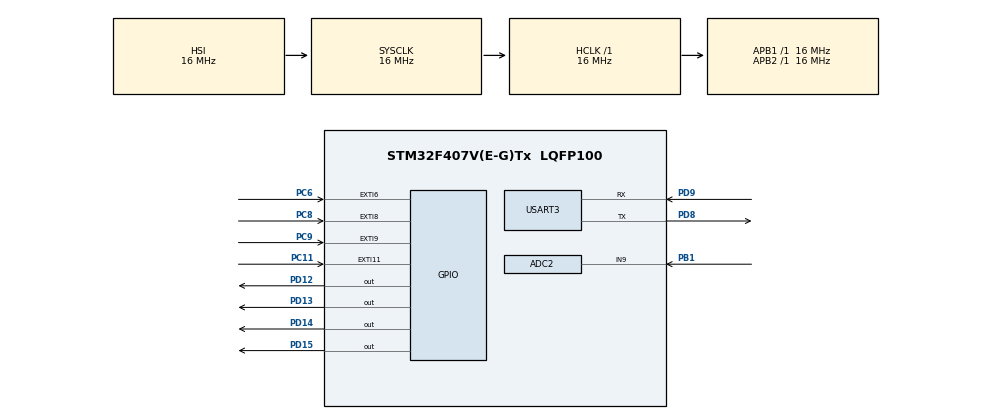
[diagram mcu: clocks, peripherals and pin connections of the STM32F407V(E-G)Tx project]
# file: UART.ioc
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ADC2.Channel-0\#ChannelRegularConversion=ADC_CHANNEL_9
ADC2.NbrOfConversionFlag=1
ADC2.Rank-0\#ChannelRegularConversion=1
ADC2.SamplingTime-0\#ChannelRegularConversion=ADC_SAMPLETIME_3CYCLES
Mcu.Family=STM32F4
Mcu.Name=STM32F407V(E-G)Tx
Mcu.Package=LQFP100
NVIC.EXTI15_10_IRQn=true\:0\:0\:false\:false\:true\:true\:true\:true
NVIC.EXTI9_5_IRQn=true\:0\:0\:false\:false\:true\:true\:true\:true
NVIC.PriorityGroup=NVIC_PRIORITYGROUP_4
NVIC.TIM6_DAC_IRQn=true\:0\:0\:false\:false\:true\:true\:true\:true
PB1.Signal=ADCx_IN9
PC11.GPIO_ModeDefaultEXTI=GPIO_MODE_IT_FALLING
PC11.Signal=GPXTI11
PC6.GPIO_ModeDefaultEXTI=GPIO_MODE_IT_FALLING
PC6.Signal=GPXTI6
PC8.GPIO_ModeDefaultEXTI=GPIO_MODE_IT_FALLING
PC8.Signal=GPXTI8
PC9.GPIO_ModeDefaultEXTI=GPIO_MODE_IT_FALLING
PC9.Signal=GPXTI9
PD12.Signal=GPIO_Output
PD13.Signal=GPIO_Output
PD14.Signal=GPIO_Output
PD15.Signal=GPIO_Output
PD8.Mode=Asynchronous
PD8.Signal=USART3_TX
PD9.Mode=Asynchronous
PD9.Signal=USART3_RX
ProjectManager.HeapSize=0x200
ProjectManager.StackSize=0x400
ProjectManager.TargetToolchain=STM32CubeIDE
RCC.AHBFreq_Value=16000000
RCC.APB1Freq_Value=16000000
RCC.APB2Freq_Value=16000000
RCC.CortexFreq_Value=16000000
RCC.HSE_VALUE=25000000
RCC.HSI_VALUE=16000000
RCC.LSE_VALUE=32768
RCC.SYSCLKFreq_VALUE=16000000
RCC.VCOOutputFreq_Value=192000000
SH.ADCx_IN9.0=ADC2_IN9,IN9
TIM6.Period=5000
TIM6.Prescaler=16000
USART3.VirtualMode=VM_ASYNC
VP_TIM6_VS_ClockSourceINT.Mode=Enable_Timer
board=custom

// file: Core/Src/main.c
/* USER CODE BEGIN Header */
/**
  ******************************************************************************
  * @file           : main.c
  * @brief          : Main program body
  ******************************************************************************
  * @attention
  *
  * Copyright (c) 2023 STMicroelectronics.
  * All rights reserved.
  *
  * This software is licensed under terms that can be found in the LICENSE file
  * in the root directory of this software component.
  * If no LICENSE file comes with this software, it is provided AS-IS.
  *
  ******************************************************************************
  */
/* USER CODE END Header */
#include "main.h"

ADC_HandleTypeDef hadc2;

TIM_HandleTypeDef htim6;

UART_HandleTypeDef huart3;

void SystemClock_Config(void);
static void MX_GPIO_Init(void);
static void MX_USART3_UART_Init(void);
static void MX_TIM6_Init(void);
static void MX_ADC2_Init(void);
/* USER CODE BEGIN PFP */

#ifdef __GNUC__
#define PUTCHAR_PROTOTYPE int __io_putchar(int ch)
#else
#define PUTCHAR_PROTOTYPE int fputc(int ch, FILE *f)
#endif

PUTCHAR_PROTOTYPE
{
  HAL_UART_Transmit(&huart3, (uint8_t *)&ch, 1, HAL_MAX_DELAY);
  return ch;
}

/* USER CODE END PFP */

/* USER CODE BEGIN 0 */
static uint8_t blueState = 0;
static uint8_t redState = 0;
static uint8_t orangeState = 0;
static uint8_t greenState = 0;
static uint32_t adc_inTemp_Value = 0;
static uint8_t temp;

volatile HAL_StatusTypeDef adc1PoolResult;

uint32_t MAP(uint32_t IN, uint32_t INmin, uint32_t INmax, uint32_t OUTmin, uint32_t OUTmax)
{
    return ((((IN - INmin)*(OUTmax - OUTmin))/(INmax - INmin)) + OUTmin);
}

void checkTemp(){

	HAL_ADC_Start(&hadc2);
	adc1PoolResult = HAL_ADC_PollForConversion(&hadc2, 100);
	if(adc1PoolResult == HAL_OK){
		adc_inTemp_Value = HAL_ADC_GetValue(&hadc2);
		temp = 125 - MAP(adc_inTemp_Value, 0, 2050, -25, 100);
		printf("Temperature: %d\r\n", temp);
		//HAL_UART_Transmit(&huart3, (uint8_t *)"Temp: ", 6, 10);
	}
}

void changeColor(char color) {
    switch(color){
    case 'R':
    	HAL_GPIO_TogglePin(GPIOD, GPIO_PIN_14);
		if(redState == 1){
			printf("Red OFF\r\n");
			//HAL_UART_Transmit(&huart3, (uint8_t *)"Red OFF", 7, 10);
			redState = 0;
		}
		else{
			printf("Red ON\r\n");
			//HAL_UART_Transmit(&huart3, (uint8_t *)"Red ON", 6, 10);
			redState = 1;
		}
		break;

    case 'B':
    	HAL_GPIO_TogglePin(GPIOD, GPIO_PIN_15);
		if(blueState == 1){
			printf("Blue OFF\r\n");
			//HAL_UART_Transmit(&huart3, (uint8_t *)"Blue OFF", 8, 10);
			blueState = 0;
		}
		else{
			printf("Blue ON\r\n");
			//HAL_UART_Transmit(&huart3, (uint8_t *)"Blue ON", 7, 10);
			blueState = 1;
		}
        break;
    case 'G':
    	HAL_GPIO_TogglePin(GPIOD, GPIO_PIN_12);
		if(greenState == 1){
			printf("Green OFF\r\n");
			//HAL_UART_Transmit(&huart3, (uint8_t *)"Green OFF", 9, 10);
			greenState = 0;
		}
		else{
			printf("Green ON\r\n");
			//HAL_UART_Transmit(&huart3, (uint8_t *)"Green ON", 8, 10);
			greenState = 1;
		}
        break;
    case 'O':
    	HAL_GPIO_TogglePin(GPIOD, GPIO_PIN_13);
        if(orangeState == 1){
        	printf("Orange OFF\r\n");
        	//HAL_UART_Transmit(&huart3, (uint8_t *)"Orange OFF", 10, 10);
        	orangeState = 0;
        }
        else{
        	printf("Orange ON\r\n");
        	//HAL_UART_Transmit(&huart3, (uint8_t *)"Orange ON", 9, 10);
        	orangeState = 1;
        }
        break;
    }
}

/* USER CODE END 0 */

int main(void)
{

  /* MCU Configuration--------------------------------------------------------*/

  /* Reset of all peripherals, Initializes the Flash interface and the Systick. */
  HAL_Init();

  /* Configure the system clock */
  SystemClock_Config();

  /* Initialize all configured peripherals */
  MX_GPIO_Init();
  MX_USART3_UART_Init();
  MX_TIM6_Init();
  MX_ADC2_Init();

  /* Infinite loop */
  /* USER CODE BEGIN WHILE */

  HAL_TIM_Base_Start_IT(&htim6);

  while (1)
  {
	  char rcvBuf[1];
	  HAL_StatusTypeDef result;
	  result = HAL_UART_Receive(&huart3, rcvBuf, 1, 10);
	  //print('q');
	  if(result == HAL_OK){
		  changeColor(rcvBuf[0]);
	  }
   }
    /* USER CODE END WHILE */

}

void SystemClock_Config(void)
{
  RCC_OscInitTypeDef RCC_OscInitStruct = {0};
  RCC_ClkInitTypeDef RCC_ClkInitStruct = {0};

  /** Configure the main internal regulator output voltage
  */
  __HAL_RCC_PWR_CLK_ENABLE();
  __HAL_PWR_VOLTAGESCALING_CONFIG(PWR_REGULATOR_VOLTAGE_SCALE1);

  /** Initializes the RCC Oscillators according to the specified parameters
  * in the RCC_OscInitTypeDef structure.
  */
  RCC_OscInitStruct.OscillatorType = RCC_OSCILLATORTYPE_HSI;
  RCC_OscInitStruct.HSIState = RCC_HSI_ON;
  RCC_OscInitStruct.HSICalibrationValue = RCC_HSICALIBRATION_DEFAULT;
  RCC_OscInitStruct.PLL.PLLState = RCC_PLL_NONE;
  if (HAL_RCC_OscConfig(&RCC_OscInitStruct) != HAL_OK)
  {
    Error_Handler();
  }

  /** Initializes the CPU, AHB and APB buses clocks
  */
  RCC_ClkInitStruct.ClockType = RCC_CLOCKTYPE_HCLK|RCC_CLOCKTYPE_SYSCLK
                              |RCC_CLOCKTYPE_PCLK1|RCC_CLOCKTYPE_PCLK2;
  RCC_ClkInitStruct.SYSCLKSource = RCC_SYSCLKSOURCE_HSI;
  RCC_ClkInitStruct.AHBCLKDivider = RCC_SYSCLK_DIV1;
  RCC_ClkInitStruct.APB1CLKDivider = RCC_HCLK_DIV1;
  RCC_ClkInitStruct.APB2CLKDivider = RCC_HCLK_DIV1;

  if (HAL_RCC_ClockConfig(&RCC_ClkInitStruct, FLASH_LATENCY_0) != HAL_OK)
  {
    Error_Handler();
  }
}

static void MX_ADC2_Init(void)
{

  ADC_ChannelConfTypeDef sConfig = {0};

  /** Configure the global features of the ADC (Clock, Resolution, Data Alignment and number of conversion)
  */
  hadc2.Instance = ADC2;
  hadc2.Init.ClockPrescaler = ADC_CLOCK_SYNC_PCLK_DIV2;
  hadc2.Init.Resolution = ADC_RESOLUTION_12B;
  hadc2.Init.ScanConvMode = DISABLE;
  hadc2.Init.ContinuousConvMode = DISABLE;
  hadc2.Init.DiscontinuousConvMode = DISABLE;
  hadc2.Init.ExternalTrigConvEdge = ADC_EXTERNALTRIGCONVEDGE_NONE;
  hadc2.Init.ExternalTrigConv = ADC_SOFTWARE_START;
  hadc2.Init.DataAlign = ADC_DATAALIGN_RIGHT;
  hadc2.Init.NbrOfConversion = 1;
  hadc2.Init.DMAContinuousRequests = DISABLE;
  hadc2.Init.EOCSelection = ADC_EOC_SINGLE_CONV;
  if (HAL_ADC_Init(&hadc2) != HAL_OK)
  {
    Error_Handler();
  }

  /** Configure for the selected ADC regular channel its corresponding rank in the sequencer and its sample time.
  */
  sConfig.Channel = ADC_CHANNEL_9;
  sConfig.Rank = 1;
  sConfig.SamplingTime = ADC_SAMPLETIME_3CYCLES;
  if (HAL_ADC_ConfigChannel(&hadc2, &sConfig) != HAL_OK)
  {
    Error_Handler();
  }

}

static void MX_TIM6_Init(void)
{

  TIM_MasterConfigTypeDef sMasterConfig = {0};

  htim6.Instance = TIM6;
  htim6.Init.Prescaler = 16000;
  htim6.Init.CounterMode = TIM_COUNTERMODE_UP;
  htim6.Init.Period = 5000;
  htim6.Init.AutoReloadPreload = TIM_AUTORELOAD_PRELOAD_DISABLE;
  if (HAL_TIM_Base_Init(&htim6) != HAL_OK)
  {
    Error_Handler();
  }
  sMasterConfig.MasterOutputTrigger = TIM_TRGO_RESET;
  sMasterConfig.MasterSlaveMode = TIM_MASTERSLAVEMODE_DISABLE;
  if (HAL_TIMEx_MasterConfigSynchronization(&htim6, &sMasterConfig) != HAL_OK)
  {
    Error_Handler();
  }

}

static void MX_USART3_UART_Init(void)
{

  huart3.Instance = USART3;
  huart3.Init.BaudRate = 115200;
  huart3.Init.WordLength = UART_WORDLENGTH_8B;
  huart3.Init.StopBits = UART_STOPBITS_1;
  huart3.Init.Parity = UART_PARITY_NONE;
  huart3.Init.Mode = UART_MODE_TX_RX;
  huart3.Init.HwFlowCtl = UART_HWCONTROL_NONE;
  huart3.Init.OverSampling = UART_OVERSAMPLING_16;
  if (HAL_UART_Init(&huart3) != HAL_OK)
  {
    Error_Handler();
  }

}

static void MX_GPIO_Init(void)
{
  GPIO_InitTypeDef GPIO_InitStruct = {0};

  /* GPIO Ports Clock Enable */
  __HAL_RCC_GPIOB_CLK_ENABLE();
  __HAL_RCC_GPIOD_CLK_ENABLE();
  __HAL_RCC_GPIOC_CLK_ENABLE();

  /*Configure GPIO pin Output Level */
  HAL_GPIO_WritePin(GPIOD, GPIO_PIN_12|GPIO_PIN_13|GPIO_PIN_14|GPIO_PIN_15, GPIO_PIN_RESET);

  /*Configure GPIO pins : PD12 PD13 PD14 PD15 */
  GPIO_InitStruct.Pin = GPIO_PIN_12|GPIO_PIN_13|GPIO_PIN_14|GPIO_PIN_15;
  GPIO_InitStruct.Mode = GPIO_MODE_OUTPUT_PP;
  GPIO_InitStruct.Pull = GPIO_NOPULL;
  GPIO_InitStruct.Speed = GPIO_SPEED_FREQ_LOW;
  HAL_GPIO_Init(GPIOD, &GPIO_InitStruct);

  /*Configure GPIO pins : PC6 PC8 PC9 PC11 */
  GPIO_InitStruct.Pin = GPIO_PIN_6|GPIO_PIN_8|GPIO_PIN_9|GPIO_PIN_11;
  GPIO_InitStruct.Mode = GPIO_MODE_IT_FALLING;
  GPIO_InitStruct.Pull = GPIO_NOPULL;
  HAL_GPIO_Init(GPIOC, &GPIO_InitStruct);

  /* EXTI interrupt init*/
  HAL_NVIC_SetPriority(EXTI9_5_IRQn, 0, 0);
  HAL_NVIC_EnableIRQ(EXTI9_5_IRQn);

  HAL_NVIC_SetPriority(EXTI15_10_IRQn, 0, 0);
  HAL_NVIC_EnableIRQ(EXTI15_10_IRQn);

}

void Error_Handler(void)
{
  __disable_irq();
  while (1)
  {
  }
}
